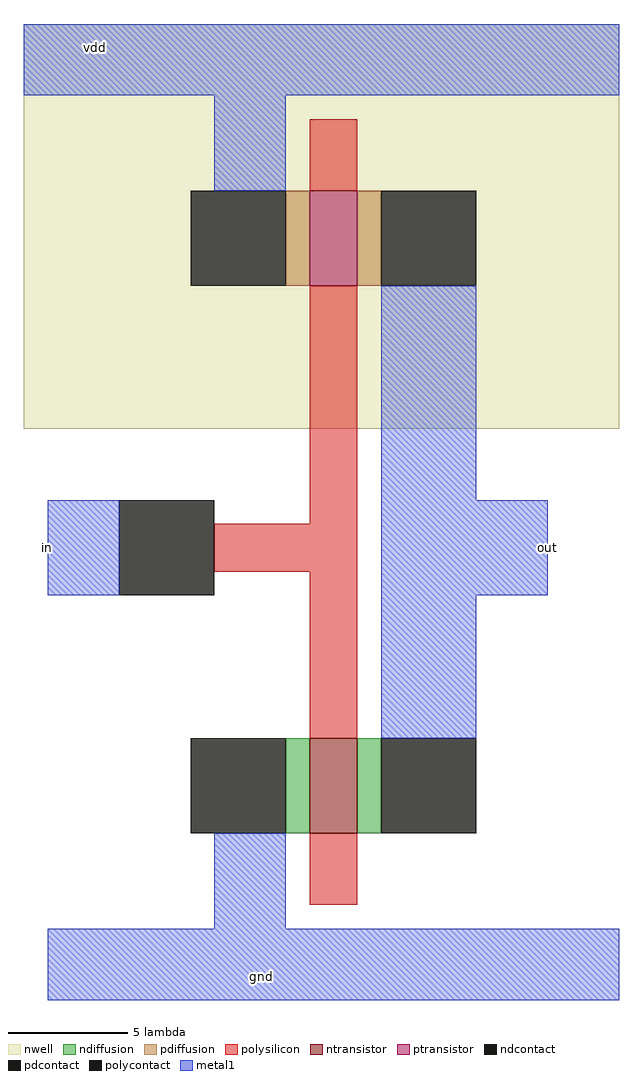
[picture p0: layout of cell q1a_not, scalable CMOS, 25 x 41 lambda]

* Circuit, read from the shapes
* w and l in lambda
.subckt q1a_not gnd in out vdd
M1 out in gnd VSUBS nfet w=4 l=2
M2 out in vdd n1 pfet w=4 l=2
.ends

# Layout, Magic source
magic
tech scmos
<< nwell >>
rect -13 7 12 24
<< ntransistor >>
rect -1 -10 1 -6
<< ptransistor >>
rect -1 13 1 17
<< ndiffusion >>
rect -2 -10 -1 -6
rect 1 -10 2 -6
<< pdiffusion >>
rect -2 13 -1 17
rect 1 13 2 17
<< ndcontact >>
rect -6 -10 -2 -6
rect 2 -10 6 -6
<< pdcontact >>
rect -6 13 -2 17
rect 2 13 6 17
<< polysilicon >>
rect -1 17 1 20
rect -1 3 1 13
rect -5 1 1 3
rect -1 -6 1 1
rect -1 -13 1 -10
<< polycontact >>
rect -9 0 -5 4
<< metal1 >>
rect -13 21 12 24
rect -5 17 -2 21
rect 2 4 6 13
rect -12 0 -9 4
rect 2 0 9 4
rect 2 -6 6 0
rect -5 -14 -2 -10
rect -12 -17 12 -14
<< labels >>
rlabel metal1 -12 0 -12 4 3 in
rlabel metal1 9 0 9 4 7 out
rlabel metal1 -3 -16 -3 -16 1 gnd
rlabel metal1 -10 23 -10 23 4 vdd
<< end >>
